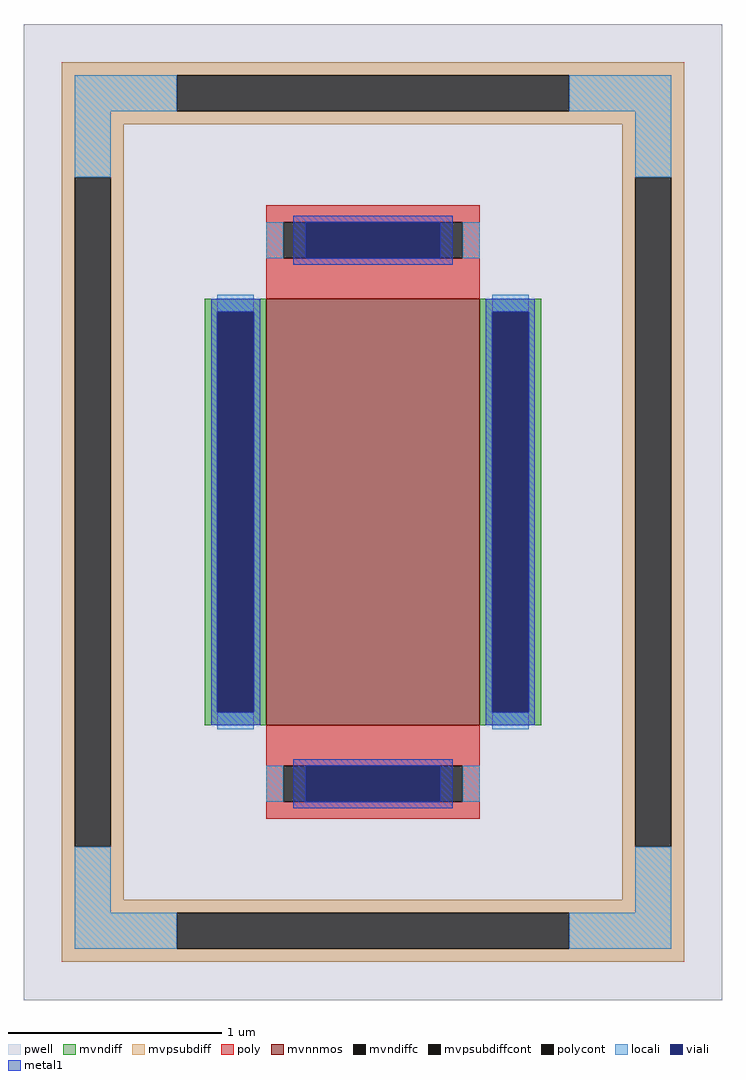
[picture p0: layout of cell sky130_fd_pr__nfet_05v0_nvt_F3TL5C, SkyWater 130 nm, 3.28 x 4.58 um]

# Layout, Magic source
magic
tech sky130A
magscale 1 2
<< pwell >>
rect -328 -458 328 458
<< mvnnmos >>
rect -100 -200 100 200
<< mvndiff >>
rect -158 188 -100 200
rect -158 -188 -146 188
rect -112 -188 -100 188
rect -158 -200 -100 -188
rect 100 188 158 200
rect 100 -188 112 188
rect 146 -188 158 188
rect 100 -200 158 -188
<< mvndiffc >>
rect -146 -188 -112 188
rect 112 -188 146 188
<< mvpsubdiff >>
rect -292 410 292 422
rect -292 376 -184 410
rect 184 376 292 410
rect -292 364 292 376
rect -292 314 -234 364
rect -292 -314 -280 314
rect -246 -314 -234 314
rect 234 314 292 364
rect -292 -364 -234 -314
rect 234 -314 246 314
rect 280 -314 292 314
rect 234 -364 292 -314
rect -292 -376 292 -364
rect -292 -410 -184 -376
rect 184 -410 292 -376
rect -292 -422 292 -410
<< mvpsubdiffcont >>
rect -184 376 184 410
rect -280 -314 -246 314
rect 246 -314 280 314
rect -184 -410 184 -376
<< poly >>
rect -100 272 100 288
rect -100 238 -84 272
rect 84 238 100 272
rect -100 200 100 238
rect -100 -238 100 -200
rect -100 -272 -84 -238
rect 84 -272 100 -238
rect -100 -288 100 -272
<< polycont >>
rect -84 238 84 272
rect -84 -272 84 -238
<< locali >>
rect -280 376 -184 410
rect 184 376 280 410
rect -280 314 -246 376
rect 246 314 280 376
rect -100 238 -84 272
rect 84 238 100 272
rect -146 188 -112 204
rect -146 -204 -112 -188
rect 112 188 146 204
rect 112 -204 146 -188
rect -100 -272 -84 -238
rect 84 -272 100 -238
rect -280 -376 -246 -314
rect 246 -376 280 -314
rect -280 -410 -184 -376
rect 184 -410 280 -376
<< viali >>
rect -63 238 63 272
rect -146 -188 -112 188
rect 112 -188 146 188
rect -63 -272 63 -238
<< metal1 >>
rect -75 272 75 278
rect -75 238 -63 272
rect 63 238 75 272
rect -75 232 75 238
rect -152 188 -106 200
rect -152 -188 -146 188
rect -112 -188 -106 188
rect -152 -200 -106 -188
rect 106 188 152 200
rect 106 -188 112 188
rect 146 -188 152 188
rect 106 -200 152 -188
rect -75 -238 75 -232
rect -75 -272 -63 -238
rect 63 -272 75 -238
rect -75 -278 75 -272
<< properties >>
string FIXED_BBOX -263 -393 263 393
string gencell sky130_fd_pr__nfet_05v0_nvt
string library sky130
string parameters w 2 l 1 m 1 nf 1 diffcov 100 polycov 100 guard 1 glc 1 grc 1 gtc 1 gbc 1 tbcov 100 rlcov 100 topc 1 botc 1 poverlap 0 doverlap 1 lmin 0.90 wmin 0.42 compatible {sky130_fd_pr__nfet_01v8 sky130_fd_pr__nfet_01v8_lvt  sky130_fd_bs_flash__special_sonosfet_star  sky130_fd_pr__nfet_g5v0d10v5 sky130_fd_pr__nfet_05v0_nvt  sky130_fd_pr__nfet_03v3_nvt} full_metal 1 viasrc 100 viadrn 100 viagate 75 viagb 0 viagr 0 viagl 0 viagt 0
<< end >>
